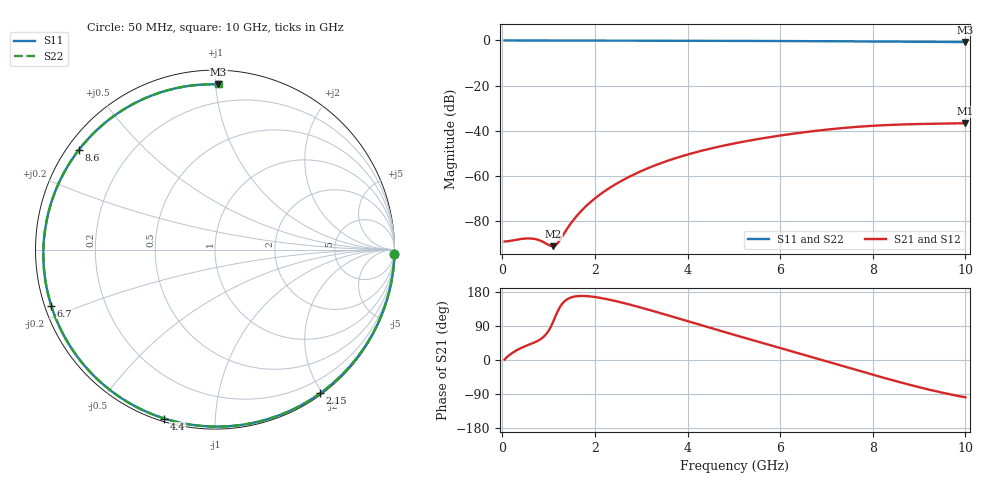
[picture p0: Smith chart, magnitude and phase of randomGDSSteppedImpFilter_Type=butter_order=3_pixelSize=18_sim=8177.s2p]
! freq	dB(S11)	phase(S11)	dB(S12)	phase(S12)
!  dB(S21)	phase(S21)	dB(S22)	phase(S22)
!S-par simulation data
#  GHz  S  DB  R 50
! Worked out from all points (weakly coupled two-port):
!   200 points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, 50 MHz to 10 GHz, reference 50 ohm
!   highest |S21| = -36.59 dB at 10 GHz (marker M1); lowest = -90.9 dB at 1.1 GHz (marker M2)
!   lowest |S11| = -0.7 dB at 10 GHz (marker M3), VSWR 24.17, Z = 4.22 + j50.9 ohm
!   |S11| at or under -10 dB: nowhere
!   |S22| runs from -0.7 to 0.0 dB; largest |S21 - S12| = 0
!   S11 on the Smith chart (normalised r, x): 50 MHz: 0, -89; 2.15 GHz: 0.02, -1.97; 4.4 GHz: 0.01, -0.74; 6.7 GHz: 0.02, -0.17; 8.6 GHz: 0.03, +0.33; 10 GHz: 0.08, +1.02
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0.05  -0.00 -1.3  -88.91 1.0  -88.91 1.0  -0.00 -1.3
0.55  -0.01 -14.1  -87.52 39.2  -87.52 39.2  -0.01 -14.1
1.1  -0.03 -27.9  -90.95 101.3  -90.95 101.3  -0.03 -27.9
1.5  -0.05 -37.9  -80.34 165.7  -80.34 165.7  -0.05 -37.9
1.75  -0.06 -44.1  -74.42 169.0  -74.42 169.0  -0.06 -44.1
2.15  -0.07 -53.8  -67.52 163.2  -67.52 163.2  -0.07 -53.8
2.7  -0.09 -67.1  -60.69 147.9  -60.69 147.9  -0.09 -67.1
3.4  -0.11 -83.6  -54.44 124.2  -54.44 124.2  -0.11 -83.6
3.9  -0.13 -95.2  -51.04 106.2  -51.04 106.2  -0.13 -95.2
4.4  -0.15 -106.7  -48.27 88.1  -48.27 88.1  -0.15 -106.7
5.05  -0.19 -121.6  -45.36 64.9  -45.36 64.9  -0.19 -121.6
5.9  -0.25 -141.5  -42.35 35.1  -42.35 35.1  -0.25 -141.5
6.7  -0.32 -161.1  -40.12 7.2  -40.12 7.2  -0.32 -161.1
7.15  -0.36 -172.8  -39.11 -8.7  -39.11 -8.7  -0.36 -172.8
7.55  -0.40 176.2  -38.37 -22.9  -38.37 -22.9  -0.40 176.2
7.95  -0.45 164.5  -37.79 -37.0  -37.79 -37.0  -0.45 164.5
8.35  -0.50 152.0  -37.36 -50.8  -37.36 -50.8  -0.50 152.0
8.6  -0.54 143.7  -37.17 -59.1  -37.17 -59.1  -0.54 143.7
9  -0.59 129.5  -36.94 -71.7  -36.94 -71.7  -0.59 129.5
9.4  -0.64 114.2  -36.79 -83.4  -36.79 -83.4  -0.64 114.1
9.7  -0.68 101.8  -36.69 -91.3  -36.69 -91.3  -0.68 101.7
10  -0.72 88.8  -36.59 -98.5  -36.59 -98.5  -0.72 88.7
